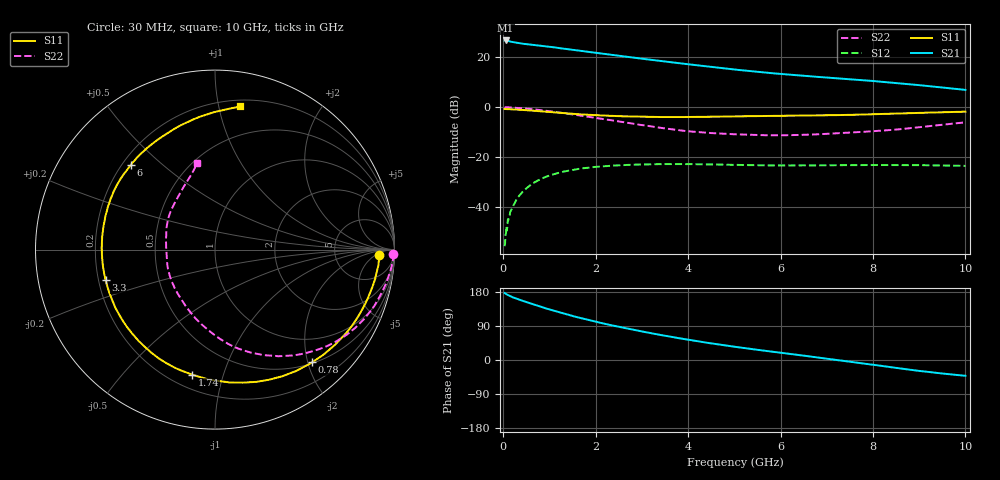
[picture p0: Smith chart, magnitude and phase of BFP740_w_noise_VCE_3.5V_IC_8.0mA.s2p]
! Infineon Technologies  Discrete & RF Semiconductors
! BFP740
! VCE =  3.5 V,  IC =  8.0 mA
! Common Emitter S-Parameters:  Jan 2016
# GHz  S  MA  R  50
!  f  S11  S21  S12  S22
! GHz  MAG  ANG  MAG  ANG  MAG  ANG  MAG  ANG
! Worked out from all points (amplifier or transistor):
!   229 points, 30 MHz to 10 GHz, reference 50 ohm
!   highest |S21| = 26.8 dB at 50 MHz (marker M1)
!   |S21| within 3 dB of that: start of sweep to 1.184 GHz
!   unconditionally stable (mu >= 1): 7.417 GHz to end of sweep
!   at 280 MHz: K = 0.14, MSG = 31.7 dB, |S12| = -37.4 dB
!   at 1.78 GHz: K = 0.29, MSG = 23.4 dB, |S12| = -24.5 dB
!   at 10 GHz: K = 1.09, MAG = 13.4 dB, |S12| = -23.6 dB
!   lowest NFmin = 0.48 dB at 450 MHz
!   S11 on the Smith chart (normalised r, x): 30 MHz: 20, -8; 780 MHz: 0.52, -2.08; 1.74 GHz: 0.28, -0.79; 3.3 GHz: 0.23, -0.13; 6 GHz: 0.23, +0.40; 10 GHz: 0.25, +1.16
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0.03  0.9165 -2.0  21.85 176.7  0.0016 85.2  0.9939 -1.4
0.05  0.9162 -3.3  21.88 175.4  0.0027 125.9  0.9934 -2.3
0.14  0.9069 -9.6  21 169.0  0.0067 83.3  0.9858 -6.5
0.3  0.8899 -19.9  19.61 161.1  0.0146 77.9  0.9638 -13.3
0.58  0.8555 -37.1  18.15 149.6  0.0268 67.8  0.9179 -24.5
0.78  0.8289 -49.2  17.32 141.7  0.0346 60.9  0.8781 -32.1
1.1  0.7846 -67.6  15.93 129.7  0.0449 50.7  0.803 -43.7
1.34  0.7519 -80.3  14.83 121.4  0.0513 44.4  0.7481 -51.4
1.7  0.7123 -98.6  13.44 109.9  0.0585 35.9  0.6683 -62.1
1.74  0.708 -100.5  13.29 108.7  0.0591 35.0  0.6605 -63.2
2.1  0.6825 -117.3  12.01 98.2  0.064 27.6  0.5872 -73.7
2.42  0.6618 -130.9  10.98 89.7  0.067 21.8  0.5302 -82.1
2.9  0.6425 -150.0  9.666 77.7  0.07 14.4  0.4514 -94.6
3.3  0.6328 -164.5  8.711 68.4  0.0715 9.0  0.3976 -106.0
3.4  0.6317 -167.9  8.48 66.2  0.0713 7.7  0.3839 -109.1
3.8  0.6313 179.2  7.658 57.6  0.0716 2.9  0.3433 -121.0
4.3  0.6357 165.3  6.753 47.6  0.0709 -2.1  0.3105 -136.4
5.1  0.6526 148.3  5.581 33.4  0.0689 -7.7  0.2834 -157.6
6  0.6646 134.8  4.646 19.2  0.0671 -11.1  0.2708 -179.0
6.8  0.681 123.7  4.056 6.8  0.0675 -14.4  0.2836 163.3
8.4  0.7369 99.0  3.111 -19.2  0.0685 -22.0  0.3474 129.3
10  0.81 79.9  2.22 -41.7  0.0659 -27.6  0.4948 101.4
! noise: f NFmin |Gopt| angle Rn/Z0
0.45  0.48  0.29  9  0.17
0.9  0.49  0.29  15  0.17
1.5  0.51  0.28  23  0.16
1.9  0.54  0.27  41  0.16
2.4  0.56  0.27  46  0.15
3.5  0.67  0.24  62  0.14
5.5  0.86  0.19  -178  0.13
10  1.39  0.52  -77  0.17
